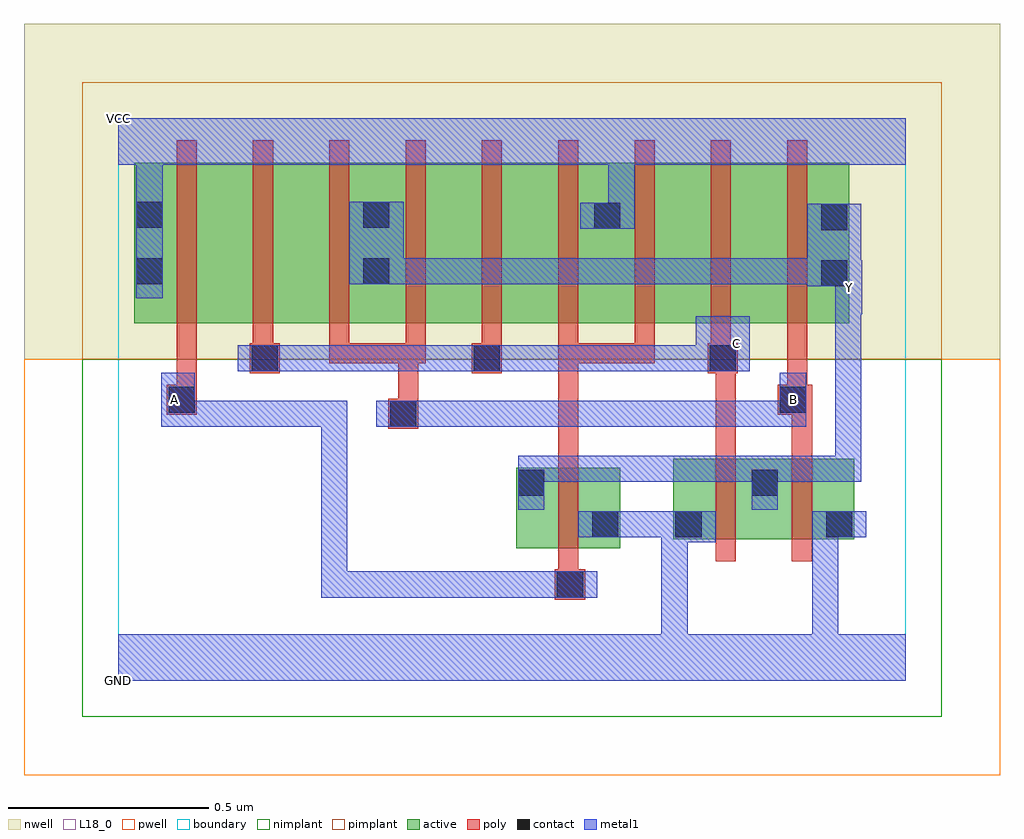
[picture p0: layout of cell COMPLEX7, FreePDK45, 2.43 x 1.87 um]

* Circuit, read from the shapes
.subckt COMPLEX7 A B C GND VCC Y
M1 GND A Y VSUBS nfet w=0.2u l=0.05u
M2 Y C GND VSUBS nfet w=0.2u l=0.05u
M3 GND B Y VSUBS nfet w=0.2u l=0.05u
M4 n1 A VCC n2 pfet w=0.4u l=0.05u
M5 n3 C n1 n2 pfet w=0.4u l=0.05u
M6 Y B n3 n2 pfet w=0.4u l=0.05u
M7 n4 B Y n2 pfet w=0.4u l=0.05u
M8 n5 C n4 n2 pfet w=0.4u l=0.05u
M9 VCC A n5 n2 pfet w=0.4u l=0.05u
M10 n6 A VCC n2 pfet w=0.4u l=0.05u
M11 n7 C n6 n2 pfet w=0.4u l=0.05u
M12 Y B n7 n2 pfet w=0.4u l=0.05u
.ends

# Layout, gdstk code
import gdstk
lib = gdstk.Library(unit=1e-6, precision=1e-09)
def R(c, l, rs):  # rectangles x0, y0, x1, y1
    for r in rs: c.add(gdstk.rectangle(r[:2], r[2:], *l))
def A(c, l, x, y, w, h, nx, ny, dx, dy):  # array of equal rectangles
    R(c, l, [(x+i*dx, y+j*dy, x+i*dx+w, y+j*dy+h) for i in range(nx) for j in range(ny)])
active = (1, 0)
pwell = (2, 0)
nwell = (3, 0)
nimplant = (4, 0)
pimplant = (5, 0)
poly = (9, 0)
contact = (10, 0)
metal1 = (11, 0)
L18_0 = (18, 0)
boundary = (235, 0)

complex7 = lib.new_cell('COMPLEX7')
A(complex7, active, 0.265, 0.89, 0.19, 0.4, 3, 1, 0.57, 0)
R(complex7, active, [(0.99,0.33,1.25,0.53), (1.175,0.352,1.25,0.525), (1.382,0.352,1.647,0.552), (1.382,0.352,1.457,0.427), (1.572,0.352,1.832,0.552), (1.572,0.352,1.647,0.53), (1.757,0.352,1.832,0.552), (0.99,0.455,1.065,0.53), (0.04,0.89,0.265,1.29), (0.04,0.89,0.115,1.255), (0.455,0.89,0.68,1.29), (0.605,0.89,0.835,1.29), (1.025,0.89,1.255,1.29), (1.18,0.89,1.405,1.29), (1.595,0.89,1.82,1.29), (1.745,0.89,1.82,1.2), (0.605,0.907,0.68,1.2), (1.18,0.907,1.255,1.255)])
R(complex7, pwell, [(-0.235,-0.235,2.195,0.8)])
R(complex7, nwell, [(-0.235,0.8,2.195,1.635)])
R(complex7, nimplant, [(-0.09,-0.09,2.05,0.8)])
R(complex7, pimplant, [(-0.09,0.8,2.05,1.49)])
A(complex7, poly, 0.335, 0.79, 0.05, 0.095, 7, 1, 0.19, 0)
A(complex7, poly, 0.145, 0.835, 0.05, 0.51, 9, 1, 0.19, 0)
R(complex7, poly, [(1.087,0.202,1.162,0.277), (1.095,0.227,1.145,0.325), (1.095,0.275,1.145,0.585), (1.487,0.297,1.537,0.607), (1.677,0.297,1.727,0.607), (1.095,0.535,1.145,0.84), (1.487,0.557,1.537,0.815), (1.677,0.557,1.727,0.712), (0.672,0.627,0.747,0.702), (0.697,0.652,0.747,0.84), (0.12,0.662,0.195,0.737), (1.642,0.662,1.727,0.737), (0.145,0.687,0.195,0.885), (0.145,0.687,0.195,0.737), (0.145,0.687,0.195,0.737), (1.665,0.687,1.715,0.885), (1.665,0.687,1.715,0.737), (1.665,0.687,1.715,0.737), (0.327,0.765,0.402,0.84), (0.88,0.765,0.955,0.84), (1.467,0.765,1.542,0.84), (1.487,0.765,1.537,0.815), (1.487,0.765,1.537,0.815), (0.525,0.79,0.575,0.84), (0.525,0.79,0.575,0.84), (0.525,0.79,0.575,0.84), (0.525,0.79,0.747,0.84), (0.697,0.79,0.765,0.84), (1.095,0.79,1.145,0.84), (1.095,0.79,1.145,0.84), (1.095,0.79,1.145,0.84), (1.095,0.79,1.145,0.84), (1.095,0.79,1.145,0.84), (1.095,0.79,1.335,0.84), (1.285,0.79,1.335,0.84)])
R(complex7, contact, [(1.092,0.207,1.157,0.272), (1.18,0.357,1.245,0.422), (1.387,0.357,1.452,0.422), (1.762,0.357,1.827,0.422), (0.995,0.46,1.06,0.525), (1.577,0.46,1.642,0.525), (0.677,0.632,0.742,0.697), (0.125,0.667,0.19,0.732), (1.647,0.667,1.712,0.732), (0.332,0.77,0.397,0.835), (0.885,0.77,0.95,0.835), (1.472,0.77,1.537,0.835), (1.75,0.982,1.815,1.047), (0.045,0.987,0.11,1.052), (0.61,0.987,0.675,1.052), (1.75,1.122,1.815,1.187), (1.185,1.125,1.25,1.19), (0.045,1.127,0.11,1.192), (0.61,1.127,0.675,1.192)])
R(complex7, metal1, [(0,0,1.96,0.115), (1.352,0.05,1.417,0.405), (1.727,0.05,1.792,0.422), (0.505,0.207,0.57,0.272), (0.505,0.207,0.777,0.272), (0.505,0.207,0.57,0.697), (0.712,0.207,0.777,0.272), (0.712,0.207,0.847,0.272), (0.782,0.207,0.847,0.272), (0.782,0.207,0.847,0.272), (0.782,0.207,0.847,0.272), (0.782,0.207,0.847,0.272), (0.782,0.207,0.847,0.272), (0.782,0.207,0.985,0.272), (0.92,0.207,0.985,0.272), (0.92,0.207,0.985,0.272), (0.92,0.207,0.985,0.272), (0.92,0.207,1.122,0.272), (1.057,0.207,1.192,0.272), (1.352,0.34,1.417,0.405), (1.352,0.34,1.417,0.405), (1.352,0.34,1.417,0.405), (1.352,0.34,1.417,0.405), (1.352,0.34,1.417,0.41), (1.352,0.345,1.417,0.41), (1.352,0.345,1.487,0.422), (1.145,0.357,1.28,0.422), (1.215,0.357,1.335,0.422), (1.27,0.357,1.335,0.422), (1.27,0.357,1.417,0.422), (1.727,0.357,1.792,0.422), (1.727,0.357,1.792,0.422), (1.727,0.357,1.792,0.422), (1.727,0.357,1.792,0.422), (1.727,0.357,1.792,0.422), (1.727,0.357,1.792,0.422), (1.727,0.357,1.862,0.422), (0.995,0.425,1.06,0.56), (1.577,0.425,1.642,0.56), (0.995,0.495,1.197,0.56), (1.132,0.495,1.197,0.56), (1.132,0.495,1.197,0.56), (1.132,0.495,1.197,0.56), (1.132,0.495,1.335,0.56), (1.27,0.495,1.335,0.56), (1.27,0.495,1.505,0.56), (1.44,0.495,1.505,0.56), (1.44,0.495,1.505,0.56), (1.44,0.495,1.505,0.56), (1.44,0.495,1.642,0.56), (1.577,0.495,1.85,0.56), (1.785,0.495,1.85,0.56), (1.785,0.495,1.85,0.56), (1.785,0.495,1.85,0.56), (1.785,0.495,1.85,0.977), (0.107,0.632,0.19,0.767), (0.125,0.632,0.19,0.697), (0.125,0.632,0.19,0.697), (0.125,0.632,0.432,0.697), (0.367,0.632,0.432,0.697), (0.367,0.632,0.432,0.697), (0.367,0.632,0.432,0.697), (0.367,0.632,0.57,0.697), (0.505,0.632,0.57,0.697), (0.505,0.632,0.57,0.697), (0.505,0.632,0.57,0.697), (0.642,0.632,0.777,0.697), (0.712,0.632,0.847,0.697), (0.782,0.632,0.847,0.697), (0.782,0.632,0.985,0.697), (0.92,0.632,0.985,0.697), (0.92,0.632,0.985,0.697), (0.92,0.632,0.985,0.697), (0.92,0.632,1.197,0.697), (1.132,0.632,1.197,0.697), (1.132,0.632,1.197,0.697), (1.132,0.632,1.197,0.697), (1.132,0.632,1.335,0.697), (1.27,0.632,1.335,0.697), (1.27,0.632,1.505,0.697), (1.44,0.632,1.505,0.697), (1.44,0.632,1.505,0.697), (1.44,0.632,1.505,0.697), (1.44,0.632,1.642,0.697), (1.577,0.632,1.642,0.697), (1.577,0.632,1.712,0.697), (1.647,0.632,1.712,0.767), (0.297,0.77,0.432,0.835), (0.367,0.77,0.432,0.835), (0.367,0.77,0.432,0.835), (0.367,0.77,0.57,0.835), (0.505,0.77,0.57,0.835), (0.505,0.77,0.57,0.835), (0.505,0.77,0.57,0.835), (0.505,0.77,0.777,0.835), (0.712,0.77,0.777,0.835), (0.712,0.77,0.847,0.835), (0.782,0.77,0.847,0.835), (0.782,0.77,0.915,0.835), (0.85,0.77,0.985,0.835), (0.92,0.77,0.985,0.835), (0.92,0.77,0.985,0.835), (0.92,0.77,1.197,0.835), (1.132,0.77,1.197,0.835), (1.132,0.77,1.197,0.835), (1.132,0.77,1.197,0.835), (1.132,0.77,1.365,0.835), (1.3,0.77,1.365,0.835), (1.3,0.77,1.502,0.835), (1.437,0.77,1.502,0.835), (1.437,0.77,1.502,0.835), (1.437,0.77,1.572,0.907), (1.785,0.912,1.852,1.047), (0.045,0.952,0.11,1.227), (1.715,0.982,1.85,1.187), (1.785,0.982,1.85,1.047), (1.785,0.982,1.85,1.047), (1.785,0.982,1.85,1.047), (0.575,0.987,0.71,1.192), (0.645,0.987,0.71,1.052), (0.645,0.987,0.71,1.052), (0.645,0.987,0.847,1.052), (0.782,0.987,0.847,1.052), (0.782,0.987,0.985,1.052), (0.92,0.987,0.985,1.052), (0.92,0.987,0.985,1.052), (0.92,0.987,0.985,1.052), (0.92,0.987,1.197,1.052), (1.132,0.987,1.197,1.052), (1.132,0.987,1.197,1.052), (1.132,0.987,1.197,1.052), (1.132,0.987,1.335,1.052), (1.27,0.987,1.335,1.052), (1.27,0.987,1.505,1.052), (1.44,0.987,1.505,1.052), (1.44,0.987,1.505,1.052), (1.44,0.987,1.505,1.052), (1.44,0.987,1.642,1.052), (1.577,0.987,1.642,1.052), (1.577,0.987,1.78,1.052), (1.715,0.987,1.78,1.052), (1.715,0.987,1.78,1.052), (1.15,1.125,1.285,1.19), (1.22,1.125,1.285,1.35), (0.045,1.162,0.11,1.35), (0,1.285,1.96,1.4)])
R(complex7, L18_0, [(0,0,1.96,0.115), (1.352,0.05,1.417,0.405), (1.727,0.05,1.792,0.422), (0.505,0.207,0.57,0.272), (0.505,0.207,0.57,0.697), (0.505,0.207,0.777,0.272), (0.712,0.207,0.777,0.272), (0.712,0.207,0.847,0.272), (0.782,0.207,0.847,0.272), (0.782,0.207,0.847,0.272), (0.782,0.207,0.847,0.272), (0.782,0.207,0.847,0.272), (0.782,0.207,0.847,0.272), (0.782,0.207,0.985,0.272), (0.92,0.207,0.985,0.272), (0.92,0.207,0.985,0.272), (0.92,0.207,0.985,0.272), (0.92,0.207,1.122,0.272), (1.057,0.207,1.192,0.272), (1.352,0.34,1.417,0.405), (1.352,0.34,1.417,0.405), (1.352,0.34,1.417,0.405), (1.352,0.34,1.417,0.405), (1.352,0.34,1.417,0.41), (1.352,0.345,1.417,0.41), (1.352,0.345,1.487,0.422), (1.145,0.357,1.28,0.422), (1.215,0.357,1.335,0.422), (1.27,0.357,1.335,0.422), (1.27,0.357,1.417,0.422), (1.727,0.357,1.792,0.422), (1.727,0.357,1.792,0.422), (1.727,0.357,1.792,0.422), (1.727,0.357,1.792,0.422), (1.727,0.357,1.792,0.422), (1.727,0.357,1.792,0.422), (1.727,0.357,1.862,0.422), (0.995,0.425,1.06,0.56), (1.577,0.425,1.642,0.56), (0.995,0.495,1.197,0.56), (1.132,0.495,1.197,0.56), (1.132,0.495,1.197,0.56), (1.132,0.495,1.197,0.56), (1.132,0.495,1.335,0.56), (1.27,0.495,1.335,0.56), (1.27,0.495,1.505,0.56), (1.44,0.495,1.505,0.56), (1.44,0.495,1.505,0.56), (1.44,0.495,1.505,0.56), (1.44,0.495,1.642,0.56), (1.577,0.495,1.85,0.56), (1.785,0.495,1.85,0.56), (1.785,0.495,1.85,0.56), (1.785,0.495,1.85,0.56), (1.785,0.495,1.85,0.977), (0.107,0.632,0.19,0.767), (0.125,0.632,0.19,0.697), (0.125,0.632,0.19,0.697), (0.125,0.632,0.432,0.697), (0.367,0.632,0.432,0.697), (0.367,0.632,0.432,0.697), (0.367,0.632,0.432,0.697), (0.367,0.632,0.57,0.697), (0.505,0.632,0.57,0.697), (0.505,0.632,0.57,0.697), (0.505,0.632,0.57,0.697), (0.642,0.632,0.777,0.697), (0.712,0.632,0.847,0.697), (0.782,0.632,0.847,0.697), (0.782,0.632,0.985,0.697), (0.92,0.632,0.985,0.697), (0.92,0.632,0.985,0.697), (0.92,0.632,0.985,0.697), (0.92,0.632,1.197,0.697), (1.132,0.632,1.197,0.697), (1.132,0.632,1.197,0.697), (1.132,0.632,1.197,0.697), (1.132,0.632,1.335,0.697), (1.27,0.632,1.335,0.697), (1.27,0.632,1.505,0.697), (1.44,0.632,1.505,0.697), (1.44,0.632,1.505,0.697), (1.44,0.632,1.505,0.697), (1.44,0.632,1.642,0.697), (1.577,0.632,1.642,0.697), (1.577,0.632,1.712,0.697), (1.647,0.632,1.712,0.767), (0.107,0.667,0.172,0.732), (1.647,0.667,1.712,0.732), (0.297,0.77,0.432,0.835), (0.367,0.77,0.432,0.835), (0.367,0.77,0.432,0.835), (0.367,0.77,0.57,0.835), (0.505,0.77,0.57,0.835), (0.505,0.77,0.57,0.835), (0.505,0.77,0.57,0.835), (0.505,0.77,0.777,0.835), (0.712,0.77,0.777,0.835), (0.712,0.77,0.847,0.835), (0.782,0.77,0.847,0.835), (0.782,0.77,0.915,0.835), (0.85,0.77,0.985,0.835), (0.92,0.77,0.985,0.835), (0.92,0.77,0.985,0.835), (0.92,0.77,1.197,0.835), (1.132,0.77,1.197,0.835), (1.132,0.77,1.197,0.835), (1.132,0.77,1.197,0.835), (1.132,0.77,1.365,0.835), (1.3,0.77,1.365,0.835), (1.3,0.77,1.502,0.835), (1.437,0.77,1.502,0.835), (1.437,0.77,1.502,0.835), (1.437,0.77,1.572,0.907), (1.507,0.807,1.572,0.872), (1.785,0.912,1.852,1.047), (1.787,0.947,1.852,1.012), (0.045,0.952,0.11,1.227), (1.715,0.982,1.85,1.187), (1.785,0.982,1.85,1.047), (1.785,0.982,1.85,1.047), (1.785,0.982,1.85,1.047), (0.575,0.987,0.71,1.192), (0.645,0.987,0.71,1.052), (0.645,0.987,0.71,1.052), (0.645,0.987,0.847,1.052), (0.782,0.987,0.847,1.052), (0.782,0.987,0.985,1.052), (0.92,0.987,0.985,1.052), (0.92,0.987,0.985,1.052), (0.92,0.987,0.985,1.052), (0.92,0.987,1.197,1.052), (1.132,0.987,1.197,1.052), (1.132,0.987,1.197,1.052), (1.132,0.987,1.197,1.052), (1.132,0.987,1.335,1.052), (1.27,0.987,1.335,1.052), (1.27,0.987,1.505,1.052), (1.44,0.987,1.505,1.052), (1.44,0.987,1.505,1.052), (1.44,0.987,1.505,1.052), (1.44,0.987,1.642,1.052), (1.577,0.987,1.642,1.052), (1.577,0.987,1.78,1.052), (1.715,0.987,1.78,1.052), (1.715,0.987,1.78,1.052), (1.15,1.125,1.285,1.19), (1.22,1.125,1.285,1.35), (0.045,1.162,0.11,1.35), (0,1.285,1.96,1.4)])
R(complex7, boundary, [(0,0,1.96,1.4)])
complex7.add(gdstk.Label('A', (0.14,0.7), layer=11, texttype=0))
complex7.add(gdstk.Label('B', (1.68,0.7), layer=11, texttype=0))
complex7.add(gdstk.Label('C', (1.54,0.84), layer=11, texttype=0))
complex7.add(gdstk.Label('Y', (1.82,0.98), layer=11, texttype=0))
complex7.add(gdstk.Label('VCC', (0,1.4), layer=11, texttype=0))
complex7.add(gdstk.Label('GND', (0,0), layer=11, texttype=0))

lib.write_gds('COMPLEX7.gds')
